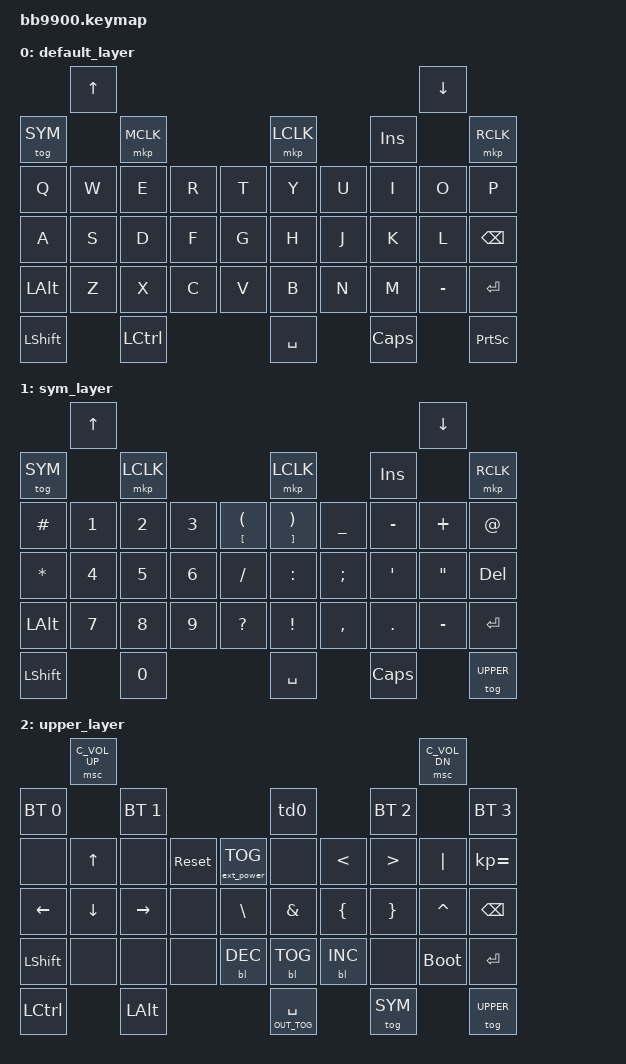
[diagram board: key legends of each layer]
/*
 * Copyright (c) 2023 ZitaoTech
 *
 * SPDX-License-Identifier: MIT
 */

#include <behaviors.dtsi>
#include <dt-bindings/zmk/keys.h>
#include <dt-bindings/zmk/bt.h>
#include <dt-bindings/zmk/outputs.h>
#include <dt-bindings/zmk/mouse.h>
#include <dt-bindings/zmk/backlight.h>
#include <dt-bindings/zmk/ext_power.h>


#define SYM 1
#define UPPER 2

/ {
    behaviors {
        td0: tap_dance_0 {
            compatible = "zmk,behavior-tap-dance";
            #binding-cells = <0>;
            tapping-term-ms = <400>;
            bindings = <&mkp LCLK>, <&bt BT_CLR>;
        };
    };
    behaviors {
        hm: homerow_mods {
            compatible = "zmk,behavior-hold-tap";
            #binding-cells = <2>;
            tapping-term-ms = <500>;
            bindings = <&out &kp>;
        };
    };

    keymap {
        compatible = "zmk,keymap";

        default_layer {

            bindings = <
//         --------------------------------------------------------------------------------------------------------------------------
//         |    Shoulder Key1    |                                                                             |    Shoulder Key2    |
// |         Call key      |      Blackberry Key        |    Trackpad    |             Back Key                |             Endcall Key          |
// |     Q      |     W    |     E    |     R    |      T      |       Y        |       U        |        I        |       O      |      P        |
// |     A      |     S    |     D    |     F    |      G      |       H        |       J        |        K        |       L      |      ←        |
// |     alt    |     Z    |     X    |     C    |      V      |       B        |       N        |        M        |       $      |    Enter      |
//        |         aA     |         0           |           SPACE              |         SYM         |        aA          |
//        -----------------------------------------------------------------------------------------------------------------

                 &kp UP_ARROW                                                                                          &kp DOWN_ARROW
    &tog SYM                &mkp MCLK                            &mkp LCLK                          &kp INSERT                    &mkp RCLK
    &kp Q        &kp W      &kp E       &kp R     &kp T         &kp Y             &kp U            &kp I            &kp O            &kp P
    &kp A        &kp S      &kp D       &kp F     &kp G         &kp H             &kp J            &kp K            &kp L            &kp BSPC
    &kp LALT    &kp Z      &kp X       &kp C     &kp V         &kp B             &kp N            &kp M            &kp MINUS         &kp ENTER
    &kp LSHFT               &kp LCTRL                            &kp SPACE                          &kp CLCK                          &kp PSCRN
            >;
        };


        sym_layer {

            bindings = <
                 &kp UP_ARROW                                                                                       &kp DOWN_ARROW
    &tog SYM                &mkp LCLK                     &mkp LCLK                          &kp INSERT                            &mkp RCLK
    &kp HASH     &kp N1     &kp N2      &kp N3    &mt LBKT LPAR &mt RBKT RPAR     &kp UNDER        &kp MINUS        &kp PLUS         &kp AT
    &kp STAR     &kp N4     &kp N5      &kp N6    &kp SLASH     &kp COLON         &kp SEMI         &kp APOS         &kp DQT          &kp DEL
    &kp LALT    &kp N7     &kp N8      &kp N9    &kp QMARK     &kp EXCL          &kp COMMA        &kp DOT          &kp MINUS       &kp ENTER
    &kp LSHFT               &kp N0                              &kp SPACE                          &kp CLCK                          &tog UPPER
            >;
        };

        upper_layer {

            bindings = <
                 &msc C_VOL_UP                                                                                       &msc C_VOL_DN
    &bt BT_SEL 0            &bt BT_SEL 1                             &td0                           &bt BT_SEL 2                     &bt BT_SEL 3
    &none        &kp UP     &none       &sys_reset &ext_power EP_TOG &none         &kp LT           &kp GT          &kp PIPE         &kp KP_EQUAL
    &kp LEFT     &kp DOWN   &kp RIGHT   &none      &kp BSLH          &kp AMPS      &kp LBRC         &kp RBRC        &kp CARET        &kp BSPC
    &kp LSHFT    &none      &none       &none      &bl BL_DEC        &bl BL_TOG    &bl BL_INC       &none           &bootloader      &kp ENTER
    &kp LCTRL               &kp LALT                                 &hm OUT_TOG SPACE              &tog SYM                         &tog UPPER
            >;
        };
    };
};
